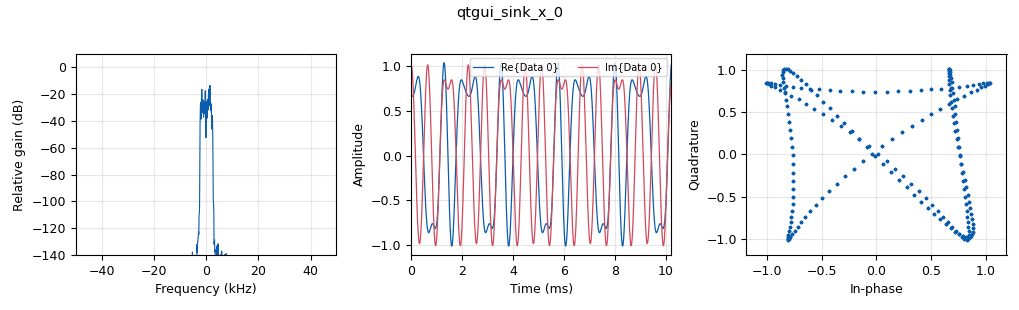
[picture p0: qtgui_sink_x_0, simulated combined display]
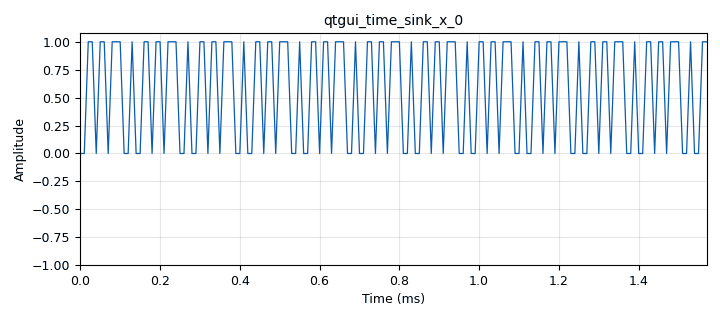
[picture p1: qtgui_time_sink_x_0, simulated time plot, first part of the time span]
<?xml version='1.0' encoding='utf-8'?>
<?grc format='1' created='3.7.10'?>
<flow_graph>
<block>
<key>options</key>
<param><key>id</key><value>top_block</value></param>
<param><key>generate_options</key><value>qt_gui</value></param>
</block>
<block>
<key>variable</key>
<param><key>id</key><value>addr</value></param>
<param><key>value</key><value>"192.168.1.100"</value></param>
</block>
<block>
<key>variable_qtgui_range</key>
<param><key>id</key><value>excess_bw</value></param>
<param><key>value</key><value>50</value></param>
<param><key>_enabled</key><value>0</value></param>
<param><key>orient</key><value>Qt.Horizontal</value></param>
<param><key>start</key><value>0</value></param>
<param><key>step</key><value>1</value></param>
<param><key>stop</key><value>100</value></param>
</block>
<block>
<key>variable</key>
<param><key>id</key><value>excess_bw</value></param>
<param><key>value</key><value>0.700</value></param>
</block>
<block>
<key>variable</key>
<param><key>id</key><value>nfilts</value></param>
<param><key>value</key><value>32</value></param>
</block>
<block>
<key>variable_qtgui_range</key>
<param><key>id</key><value>offset</value></param>
<param><key>value</key><value>1.2</value></param>
<param><key>label</key><value>offset</value></param>
<param><key>orient</key><value>Qt.Horizontal</value></param>
<param><key>start</key><value>0</value></param>
<param><key>step</key><value>0.0100</value></param>
<param><key>stop</key><value>2</value></param>
</block>
<block>
<key>variable_qtgui_check_box</key>
<param><key>id</key><value>ptt</value></param>
<param><key>value</key><value>False</value></param>
<param><key>false</key><value>False</value></param>
<param><key>gui_hint</key><value>0,0,1,1</value></param>
<param><key>true</key><value>True</value></param>
<param><key>type</key><value>int</value></param>
</block>
<block>
<key>variable_constellation</key>
<param><key>id</key><value>qpsk</value></param>
<param><key>const_points</key><value>[-1-1j, -1+1j, 1+1j, 1-1j]</value></param>
<param><key>type</key><value>calcdist</value></param>
<param><key>dims</key><value>1</value></param>
<param><key>rot_sym</key><value>4</value></param>
<param><key>precision</key><value>8</value></param>
<param><key>sym_map</key><value>[0, 1, 3, 2]</value></param>
</block>
<block>
<key>variable</key>
<param><key>id</key><value>rrc_taps</value></param>
<param><key>value</key><value>0</value></param>
</block>
<block>
<key>variable</key>
<param><key>id</key><value>rx_samp_rate</value></param>
<param><key>value</key><value>100000</value></param>
</block>
<block>
<key>variable</key>
<param><key>id</key><value>samp_rate</value></param>
<param><key>value</key><value>100000</value></param>
</block>
<block>
<key>variable</key>
<param><key>id</key><value>sps</value></param>
<param><key>value</key><value>32</value></param>
</block>
<block>
<key>variable</key>
<param><key>id</key><value>tx_samp_rate</value></param>
<param><key>value</key><value>100000</value></param>
</block>
<block>
<key>analog_sig_source_x</key>
<param><key>id</key><value>analog_sig_source_x_0</value></param>
<param><key>amp</key><value>1</value></param>
<param><key>_enabled</key><value>0</value></param>
<param><key>freq</key><value>1000</value></param>
<param><key>offset</key><value>0</value></param>
<param><key>type</key><value>complex</value></param>
<param><key>samp_rate</key><value>tx_samp_rate</value></param>
<param><key>waveform</key><value>analog.GR_COS_WAVE</value></param>
</block>
<block>
<key>blocks_uchar_to_float</key>
<param><key>id</key><value>blocks_uchar_to_float_0</value></param>
</block>
<block>
<key>blocks_unpacked_to_packed_xx</key>
<param><key>id</key><value>blocks_unpacked_to_packed_xx_0</value></param>
<param><key>bits_per_chunk</key><value>1</value></param>
<param><key>endianness</key><value>gr.GR_MSB_FIRST</value></param>
<param><key>type</key><value>byte</value></param>
</block>
<block>
<key>blocks_vector_source_x</key>
<param><key>id</key><value>blocks_vector_source_x_0</value></param>
<param><key>type</key><value>byte</value></param>
<param><key>repeat</key><value>True</value></param>
<param><key>vector</key><value>(1, 0, 1,1,1,0,0,1,0,0,1,1,0,1)</value></param>
</block>
<block>
<key>digital_constellation_modulator</key>
<param><key>id</key><value>digital_constellation_modulator_0</value></param>
<param><key>constellation</key><value>qpsk</value></param>
<param><key>differential</key><value>False</value></param>
<param><key>excess_bw</key><value>excess_bw</value></param>
<param><key>samples_per_symbol</key><value>sps</value></param>
</block>
<block>
<key>qtgui_freq_sink_x</key>
<param><key>id</key><value>qtgui_freq_sink_x_0</value></param>
<param><key>bw</key><value>rx_samp_rate</value></param>
<param><key>fc</key><value>0</value></param>
<param><key>fftsize</key><value>1024</value></param>
<param><key>gui_hint</key><value>1,0,1,1</value></param>
<param><key>name</key><value>QT GUI Plot</value></param>
<param><key>showports</key><value>True</value></param>
<param><key>type</key><value>complex</value></param>
<param><key>wintype</key><value>firdes.WIN_BLACKMAN_hARRIS</value></param>
</block>
<block>
<key>qtgui_sink_x</key>
<param><key>id</key><value>qtgui_sink_x_0</value></param>
<param><key>bw</key><value>samp_rate</value></param>
<param><key>fc</key><value>0</value></param>
<param><key>freqchangevar</key><value>None</value></param>
<param><key>fftsize</key><value>1024</value></param>
<param><key>showports</key><value>True</value></param>
<param><key>type</key><value>complex</value></param>
<param><key>wintype</key><value>firdes.WIN_BLACKMAN_hARRIS</value></param>
</block>
<block>
<key>qtgui_time_sink_x</key>
<param><key>id</key><value>qtgui_time_sink_x_0</value></param>
<param><key>color1</key><value>"blue"</value></param>
<param><key>label1</key><value></value></param>
<param><key>size</key><value>1024</value></param>
<param><key>srate</key><value>samp_rate</value></param>
<param><key>type</key><value>float</value></param>
</block>
<block>
<key>qtgui_time_sink_x</key>
<param><key>id</key><value>qtgui_time_sink_x_1</value></param>
<param><key>_enabled</key><value>0</value></param>
<param><key>color1</key><value>"blue"</value></param>
<param><key>label1</key><value></value></param>
<param><key>color2</key><value>"red"</value></param>
<param><key>label2</key><value></value></param>
<param><key>size</key><value>1024</value></param>
<param><key>srate</key><value>samp_rate</value></param>
<param><key>type</key><value>complex</value></param>
</block>
<block>
<key>qtgui_time_sink_x</key>
<param><key>id</key><value>qtgui_time_sink_x_1_0</value></param>
<param><key>color1</key><value>"blue"</value></param>
<param><key>label1</key><value></value></param>
<param><key>color2</key><value>"red"</value></param>
<param><key>label2</key><value></value></param>
<param><key>size</key><value>1024</value></param>
<param><key>srate</key><value>samp_rate</value></param>
<param><key>type</key><value>complex</value></param>
</block>
<block>
<key>red_pitaya_wide_sink</key>
<param><key>id</key><value>red_pitaya_wide_sink_0</value></param>
<param><key>addr</key><value>str(addr)</value></param>
<param><key>freq</key><value>12000000</value></param>
<param><key>_enabled</key><value>0</value></param>
<param><key>corr</key><value>0</value></param>
<param><key>mask</key><value>1</value></param>
<param><key>ptt</key><value>ptt</value></param>
<param><key>port</key><value>1001</value></param>
<param><key>rate</key><value>tx_samp_rate</value></param>
</block>
<block>
<key>red_pitaya_wide_sink</key>
<param><key>id</key><value>red_pitaya_wide_sink_1</value></param>
<param><key>addr</key><value>192.168.1.100</value></param>
<param><key>freq</key><value>0</value></param>
<param><key>corr</key><value>0</value></param>
<param><key>mask</key><value>3</value></param>
<param><key>ptt</key><value>True</value></param>
<param><key>port</key><value>1001</value></param>
<param><key>rate</key><value>100000</value></param>
</block>
<block>
<key>red_pitaya_wide_source</key>
<param><key>id</key><value>red_pitaya_wide_source_0</value></param>
<param><key>addr</key><value>str(addr)</value></param>
<param><key>freq</key><value>12000000</value></param>
<param><key>corr</key><value>0</value></param>
<param><key>mask</key><value>1</value></param>
<param><key>port</key><value>1001</value></param>
<param><key>rate</key><value>rx_samp_rate</value></param>
</block>
<connection><source_block_id>analog_sig_source_x_0</source_block_id><sink_block_id>red_pitaya_wide_sink_0</sink_block_id><source_key>0</source_key><sink_key>0</sink_key></connection>
<connection><source_block_id>blocks_uchar_to_float_0</source_block_id><sink_block_id>qtgui_time_sink_x_0</sink_block_id><source_key>0</source_key><sink_key>0</sink_key></connection>
<connection><source_block_id>blocks_unpacked_to_packed_xx_0</source_block_id><sink_block_id>digital_constellation_modulator_0</sink_block_id><source_key>0</source_key><sink_key>0</sink_key></connection>
<connection><source_block_id>blocks_vector_source_x_0</source_block_id><sink_block_id>blocks_uchar_to_float_0</sink_block_id><source_key>0</source_key><sink_key>0</sink_key></connection>
<connection><source_block_id>blocks_vector_source_x_0</source_block_id><sink_block_id>blocks_unpacked_to_packed_xx_0</sink_block_id><source_key>0</source_key><sink_key>0</sink_key></connection>
<connection><source_block_id>digital_constellation_modulator_0</source_block_id><sink_block_id>qtgui_sink_x_0</sink_block_id><source_key>0</source_key><sink_key>0</sink_key></connection>
<connection><source_block_id>digital_constellation_modulator_0</source_block_id><sink_block_id>qtgui_time_sink_x_1</sink_block_id><source_key>0</source_key><sink_key>0</sink_key></connection>
<connection><source_block_id>digital_constellation_modulator_0</source_block_id><sink_block_id>red_pitaya_wide_sink_1</sink_block_id><source_key>0</source_key><sink_key>0</sink_key></connection>
<connection><source_block_id>red_pitaya_wide_source_0</source_block_id><sink_block_id>qtgui_freq_sink_x_0</sink_block_id><source_key>0</source_key><sink_key>0</sink_key></connection>
<connection><source_block_id>red_pitaya_wide_source_0</source_block_id><sink_block_id>qtgui_time_sink_x_1_0</sink_block_id><source_key>0</source_key><sink_key>0</sink_key></connection>
</flow_graph>
